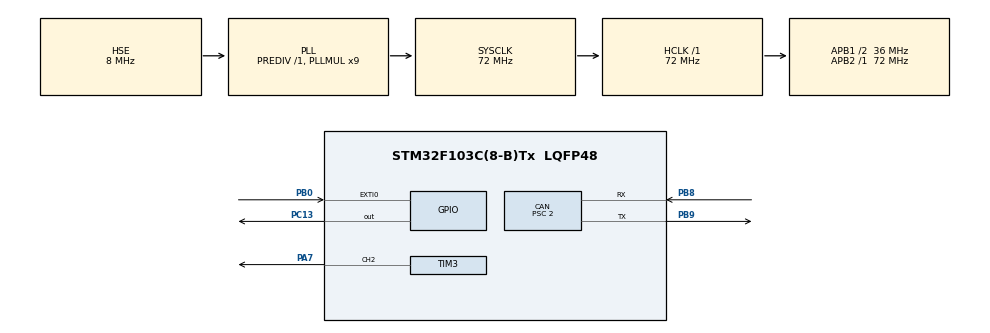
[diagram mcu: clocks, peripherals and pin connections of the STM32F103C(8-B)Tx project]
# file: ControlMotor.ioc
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CAN.BS1=CAN_BS1_12TQ
CAN.BS2=CAN_BS2_8TQ
CAN.CalculateTimeBit=1166.66
CAN.CalculateTimeQuantum=55.55555555555556
CAN.Prescaler=2
Mcu.Family=STM32F1
Mcu.Name=STM32F103C(8-B)Tx
Mcu.Package=LQFP48
NVIC.CAN1_RX1_IRQn=true\:0\:0\:false\:false\:true\:true\:true
NVIC.EXTI0_IRQn=true\:2\:0\:true\:false\:true\:true\:true
NVIC.PriorityGroup=NVIC_PRIORITYGROUP_4
NVIC.TIM2_IRQn=true\:1\:0\:true\:false\:true\:true\:true
PA13.Mode=Serial_Wire
PA13.Signal=SYS_JTMS-SWDIO
PA14.Mode=Serial_Wire
PA14.Signal=SYS_JTCK-SWCLK
PA7.GPIO_Speed=GPIO_SPEED_FREQ_HIGH
PA7.Signal=S_TIM3_CH2
PB0.GPIO_ModeDefaultEXTI=GPIO_MODE_IT_RISING
PB0.GPIO_PuPd=GPIO_PULLDOWN
PB0.Signal=GPXTI0
PB8.GPIO_PuPd=GPIO_PULLUP
PB8.Mode=Master
PB8.Signal=CAN_RX
PB9.Mode=Master
PB9.Signal=CAN_TX
PC13-TAMPER-RTC.GPIO_ModeDefaultOutputPP=GPIO_MODE_OUTPUT_PP
PC13-TAMPER-RTC.GPIO_PuPd=GPIO_PULLUP
PC13-TAMPER-RTC.GPIO_Speed=GPIO_SPEED_FREQ_HIGH
PC13-TAMPER-RTC.PinState=GPIO_PIN_SET
PC13-TAMPER-RTC.Signal=GPIO_Output
PD0-OSC_IN.Mode=HSE-External-Oscillator
PD0-OSC_IN.Signal=RCC_OSC_IN
PD1-OSC_OUT.Mode=HSE-External-Oscillator
PD1-OSC_OUT.Signal=RCC_OSC_OUT
ProjectManager.HeapSize=0x200
ProjectManager.StackSize=0x400
ProjectManager.TargetToolchain=STM32CubeIDE
RCC.AHBFreq_Value=72000000
RCC.APB1CLKDivider=RCC_HCLK_DIV2
RCC.APB1Freq_Value=36000000
RCC.APB1TimFreq_Value=72000000
RCC.APB2Freq_Value=72000000
RCC.APB2TimFreq_Value=72000000
RCC.HCLKFreq_Value=72000000
RCC.PLLMUL=RCC_PLL_MUL9
RCC.PLLSourceVirtual=RCC_PLLSOURCE_HSE
RCC.SYSCLKFreq_VALUE=72000000
RCC.SYSCLKSource=RCC_SYSCLKSOURCE_PLLCLK
RCC.USBFreq_Value=72000000
SH.S_TIM3_CH2.0=TIM3_CH2,PWM Generation2 CH2
TIM2.AutoReloadPreload=TIM_AUTORELOAD_PRELOAD_ENABLE
TIM2.Period=999
TIM2.Prescaler=72
TIM3.AutoReloadPreload=TIM_AUTORELOAD_PRELOAD_ENABLE
TIM3.Channel-PWM\ Generation2\ CH2=TIM_CHANNEL_2
TIM3.Period=999
TIM3.Prescaler=72
TIM4.AutoReloadPreload=TIM_AUTORELOAD_PRELOAD_ENABLE
TIM4.Period=65535
TIM4.Prescaler=720
VP_TIM2_VS_ClockSourceINT.Mode=Internal
VP_TIM3_VS_ClockSourceINT.Mode=Internal
VP_TIM4_VS_ClockSourceINT.Mode=Internal
board=custom

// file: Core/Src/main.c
/* USER CODE BEGIN Header */
/**
  ******************************************************************************
  * @file           : main.c
  * @brief          : Main program body
  ******************************************************************************
  * @attention
  *
  * <h2><center>&copy; Copyright (c) 2020 STMicroelectronics.
  * All rights reserved.</center></h2>
  *
  * This software component is licensed by ST under BSD 3-Clause license,
  * the "License"; You may not use this file except in compliance with the
  * License. You may obtain a copy of the License at:
  *                        opensource.org/licenses/BSD-3-Clause
  *
  ******************************************************************************
  */
/* USER CODE END Header */
#include "main.h"

CAN_HandleTypeDef hcan;

TIM_HandleTypeDef htim2;
TIM_HandleTypeDef htim3;
TIM_HandleTypeDef htim4;

void SystemClock_Config(void);
static void MX_GPIO_Init(void);
static void MX_TIM3_Init(void);
static void MX_TIM4_Init(void);
static void MX_CAN_Init(void);
static void MX_TIM2_Init(void);

/* USER CODE BEGIN 0 */
#define TCR_ID 0x1D
#define ID_MAIN 0x2C
#define MOTOR1_ID 0x3A
#define MOTOR2_ID 0x4B

CAN_FilterTypeDef hcanfilter;
uint16_t _FilterIdHigh=0xFFFF;
uint16_t _FilterIdLow=0x0000;
uint16_t _IdHigh=MOTOR2_ID;
uint16_t _IdLow=0x0000;
CAN_RxHeaderTypeDef RxMessage; //CAN Bus Receive Header
CAN_TxHeaderTypeDef TxMessage;
uint8_t TX_Message[8] = {0,0,0,0,0,0,0,0};
uint8_t RX_Message[8] = {0,0,0,0,0,0,0,0};
uint8_t EC_Message[8] = {0,0,0,0,0,0,0,0};

//========================
float setpoint = 0; //rpm
float Ki=0,Kp=0,Kd=0,Tsample=0.001;
float pre_I_Part=0,I_part=0,D_part=0,pre_Error=0,Error=0;
float Output=0,PID=0;

float Fre_motor=0;
float velocity_feedback=0;

void CANbus_Transmit(uint32_t StdID, uint8_t can_DLC,uint8_t* can_Data)
{
	uint32_t TransmitMailbox;
	TxMessage.StdId=StdID;
	TxMessage.ExtId=0;
	TxMessage.RTR=CAN_RTR_DATA;
	TxMessage.DLC=can_DLC;
	TxMessage.IDE=CAN_ID_STD;
	TxMessage.TransmitGlobalTime = DISABLE;
	HAL_CAN_AddTxMessage(&hcan, &TxMessage, can_Data, &TransmitMailbox);
	uint32_t k=0;
	while((HAL_CAN_IsTxMessagePending(&hcan, TransmitMailbox) != 1) && (k!=0xFFFF))
	{
		k++;

	}
}

void PID_Init(float _Kp,float _Ki,float _Kd,float _Tsample)
{

	pre_I_Part=0;
	I_part=0;
	D_part=0;
	pre_Error=0;
	Error=0;
	Output=0;
	PID=0;
	Kd=_Kd;
	Ki=_Ki;
	Kp=_Kp;
	velocity_feedback=0;
	Tsample=_Tsample;

}

void HAL_CAN_RxFifo1MsgPendingCallback(CAN_HandleTypeDef *hcan)
{
	HAL_CAN_GetRxMessage(hcan, CAN_RX_FIFO1, &RxMessage, RX_Message); //Receive CAN bus message to canRX buffer
	// toggle PC13 LED

	if (RxMessage.StdId == MOTOR2_ID)
	{
		if ((RX_Message[0]='S') && (RX_Message[0]='T'))
		{
			//CODE CMD START
			setpoint=RX_Message[2];
			if (setpoint >0)
			{
				//DCtrai
				HAL_TIM_Base_Start_IT(&htim2);
			}
			else
			{
				HAL_TIM_Base_Stop_IT(&htim2);
				PID_Init(0.2,0.005,0,0.001); //DCtrai

			}
			HAL_GPIO_TogglePin(GPIOC, GPIO_PIN_13);
			//CODE CMD END

		}
		else if ((RX_Message[0]='S') && (RX_Message[0]='O'))
		{
			  __HAL_TIM_SetCompare(&htim3,TIM_CHANNEL_2,0);
		}

		else
		{
			 __HAL_TIM_SetCompare(&htim3,TIM_CHANNEL_2,0);
		}

	}

}

void PID_Compute(float set_point,float feedback)
{
    Error = (float)(set_point-feedback);
    I_part = pre_I_Part + (float)Error*Tsample*1.0;
    D_part = (float)(1.0*(Error - pre_Error)/Tsample);
    PID = Kp*Error + Ki*I_part + Kd*D_part;
    pre_Error = Error;
    pre_I_Part = I_part;

    //Output=Output+(float)(1.0*PID/286*199);
    Output=Output+PID;
  //  Output=PID;
    if (Output > 999)
    {
    	Output = 999;
    }
    else if (Output <0)
    {
    	Output=0;
    }

    __HAL_TIM_SetCompare(&htim3,TIM_CHANNEL_2,(uint16_t)Output);

}
float GetOutPut(void)
{
	return Output;
}

//========================================================================

uint16_t tim4_counter=0;

void HAL_GPIO_EXTI_Callback(uint16_t GPIO_Pin)
{
	HAL_TIM_Base_Start(&htim4);  // Read velocity
	htim4.Instance->CNT=0;
	while(HAL_GPIO_ReadPin(GPIOB, GPIO_PIN_0) == GPIO_PIN_SET);
	while(HAL_GPIO_ReadPin(GPIOB, GPIO_PIN_0) == GPIO_PIN_RESET);
	tim4_counter=htim4.Instance->CNT;
	if (tim4_counter >0)
	{
		Fre_motor=(float)(100000.0/tim4_counter);  // xung/s
		velocity_feedback=(1.0*Fre_motor/374)*60; // rpm
	}
	HAL_TIM_Base_Stop(&htim4);

}
void HAL_TIM_PeriodElapsedCallback(TIM_HandleTypeDef *htim)
{
	if (htim->Instance == TIM2)
	{

		PID_Compute(setpoint,velocity_feedback);

	}
}

//=============================================================================
/* USER CODE END 0 */

int main(void)
{

  /* MCU Configuration--------------------------------------------------------*/

  /* Reset of all peripherals, Initializes the Flash interface and the Systick. */
  HAL_Init();

  /* Configure the system clock */
  SystemClock_Config();

  /* Initialize all configured peripherals */
  MX_GPIO_Init();
  MX_TIM3_Init();
  MX_TIM4_Init();
  MX_CAN_Init();
  MX_TIM2_Init();
  /* USER CODE BEGIN 2 */

  HAL_TIM_PWM_Start(&htim3, TIM_CHANNEL_2);
  //===========================
//   PID_Init(0.205,0.005,0,0.001); // DC phai
  PID_Init(0.2,0.005,0,0.001); //DCtrai
  //__HAL_TIM_SetCompare(&htim3,TIM_CHANNEL_2,999);

  //============================

  /* USER CODE END 2 */

  /* Infinite loop */
  while (1)
  {

  }
}

void SystemClock_Config(void)
{
  RCC_OscInitTypeDef RCC_OscInitStruct = {0};
  RCC_ClkInitTypeDef RCC_ClkInitStruct = {0};

  /** Initializes the RCC Oscillators according to the specified parameters
  * in the RCC_OscInitTypeDef structure.
  */
  RCC_OscInitStruct.OscillatorType = RCC_OSCILLATORTYPE_HSE;
  RCC_OscInitStruct.HSEState = RCC_HSE_ON;
  RCC_OscInitStruct.HSEPredivValue = RCC_HSE_PREDIV_DIV1;
  RCC_OscInitStruct.HSIState = RCC_HSI_ON;
  RCC_OscInitStruct.PLL.PLLState = RCC_PLL_ON;
  RCC_OscInitStruct.PLL.PLLSource = RCC_PLLSOURCE_HSE;
  RCC_OscInitStruct.PLL.PLLMUL = RCC_PLL_MUL9;
  if (HAL_RCC_OscConfig(&RCC_OscInitStruct) != HAL_OK)
  {
    Error_Handler();
  }
  /** Initializes the CPU, AHB and APB buses clocks
  */
  RCC_ClkInitStruct.ClockType = RCC_CLOCKTYPE_HCLK|RCC_CLOCKTYPE_SYSCLK
                              |RCC_CLOCKTYPE_PCLK1|RCC_CLOCKTYPE_PCLK2;
  RCC_ClkInitStruct.SYSCLKSource = RCC_SYSCLKSOURCE_PLLCLK;
  RCC_ClkInitStruct.AHBCLKDivider = RCC_SYSCLK_DIV1;
  RCC_ClkInitStruct.APB1CLKDivider = RCC_HCLK_DIV2;
  RCC_ClkInitStruct.APB2CLKDivider = RCC_HCLK_DIV1;

  if (HAL_RCC_ClockConfig(&RCC_ClkInitStruct, FLASH_LATENCY_2) != HAL_OK)
  {
    Error_Handler();
  }
}

static void MX_CAN_Init(void)
{

  hcan.Instance = CAN1;
  hcan.Init.Prescaler = 2;
  hcan.Init.Mode = CAN_MODE_NORMAL;
  hcan.Init.SyncJumpWidth = CAN_SJW_1TQ;
  hcan.Init.TimeSeg1 = CAN_BS1_12TQ;
  hcan.Init.TimeSeg2 = CAN_BS2_8TQ;
  hcan.Init.TimeTriggeredMode = DISABLE;
  hcan.Init.AutoBusOff = DISABLE;
  hcan.Init.AutoWakeUp = DISABLE;
  hcan.Init.AutoRetransmission = DISABLE;
  hcan.Init.ReceiveFifoLocked = DISABLE;
  hcan.Init.TransmitFifoPriority = DISABLE;
  if (HAL_CAN_Init(&hcan) != HAL_OK)
  {
    Error_Handler();
  }
  /* USER CODE BEGIN CAN_Init 2 */
  hcanfilter.FilterActivation=CAN_FILTER_ENABLE;
  hcanfilter.FilterMode=CAN_FILTERMODE_IDMASK;
  hcanfilter.FilterScale=CAN_FILTERSCALE_16BIT;
  hcanfilter.FilterMaskIdHigh=_FilterIdHigh << 5 ;
  hcanfilter.FilterMaskIdLow=_FilterIdLow ;

  hcanfilter.FilterBank=2;
  hcanfilter.FilterIdHigh=_IdHigh;
  hcanfilter.FilterIdLow=_IdLow;
  hcanfilter.FilterFIFOAssignment=CAN_FILTER_FIFO1;
 // hcanfilter.SlaveStartFilterBank=14;

  HAL_CAN_ConfigFilter(&hcan,&hcanfilter); //Initialize CAN Filter
  HAL_CAN_Start(&hcan); //Initialize CAN Bus
  HAL_CAN_ActivateNotification(&hcan,CAN_IT_RX_FIFO1_MSG_PENDING);// Initialize
  /* USER CODE END CAN_Init 2 */

}

static void MX_TIM2_Init(void)
{

  TIM_ClockConfigTypeDef sClockSourceConfig = {0};
  TIM_MasterConfigTypeDef sMasterConfig = {0};

  htim2.Instance = TIM2;
  htim2.Init.Prescaler = 72;
  htim2.Init.CounterMode = TIM_COUNTERMODE_UP;
  htim2.Init.Period = 999;
  htim2.Init.ClockDivision = TIM_CLOCKDIVISION_DIV1;
  htim2.Init.AutoReloadPreload = TIM_AUTORELOAD_PRELOAD_ENABLE;
  if (HAL_TIM_Base_Init(&htim2) != HAL_OK)
  {
    Error_Handler();
  }
  sClockSourceConfig.ClockSource = TIM_CLOCKSOURCE_INTERNAL;
  if (HAL_TIM_ConfigClockSource(&htim2, &sClockSourceConfig) != HAL_OK)
  {
    Error_Handler();
  }
  sMasterConfig.MasterOutputTrigger = TIM_TRGO_RESET;
  sMasterConfig.MasterSlaveMode = TIM_MASTERSLAVEMODE_DISABLE;
  if (HAL_TIMEx_MasterConfigSynchronization(&htim2, &sMasterConfig) != HAL_OK)
  {
    Error_Handler();
  }

}

static void MX_TIM3_Init(void)
{

  TIM_ClockConfigTypeDef sClockSourceConfig = {0};
  TIM_MasterConfigTypeDef sMasterConfig = {0};
  TIM_OC_InitTypeDef sConfigOC = {0};

  htim3.Instance = TIM3;
  htim3.Init.Prescaler = 72;
  htim3.Init.CounterMode = TIM_COUNTERMODE_UP;
  htim3.Init.Period = 999;
  htim3.Init.ClockDivision = TIM_CLOCKDIVISION_DIV1;
  htim3.Init.AutoReloadPreload = TIM_AUTORELOAD_PRELOAD_ENABLE;
  if (HAL_TIM_Base_Init(&htim3) != HAL_OK)
  {
    Error_Handler();
  }
  sClockSourceConfig.ClockSource = TIM_CLOCKSOURCE_INTERNAL;
  if (HAL_TIM_ConfigClockSource(&htim3, &sClockSourceConfig) != HAL_OK)
  {
    Error_Handler();
  }
  if (HAL_TIM_PWM_Init(&htim3) != HAL_OK)
  {
    Error_Handler();
  }
  sMasterConfig.MasterOutputTrigger = TIM_TRGO_RESET;
  sMasterConfig.MasterSlaveMode = TIM_MASTERSLAVEMODE_DISABLE;
  if (HAL_TIMEx_MasterConfigSynchronization(&htim3, &sMasterConfig) != HAL_OK)
  {
    Error_Handler();
  }
  sConfigOC.OCMode = TIM_OCMODE_PWM1;
  sConfigOC.Pulse = 0;
  sConfigOC.OCPolarity = TIM_OCPOLARITY_HIGH;
  sConfigOC.OCFastMode = TIM_OCFAST_DISABLE;
  if (HAL_TIM_PWM_ConfigChannel(&htim3, &sConfigOC, TIM_CHANNEL_2) != HAL_OK)
  {
    Error_Handler();
  }
  HAL_TIM_MspPostInit(&htim3);

}

static void MX_TIM4_Init(void)
{

  TIM_ClockConfigTypeDef sClockSourceConfig = {0};
  TIM_MasterConfigTypeDef sMasterConfig = {0};

  htim4.Instance = TIM4;
  htim4.Init.Prescaler = 720;
  htim4.Init.CounterMode = TIM_COUNTERMODE_UP;
  htim4.Init.Period = 65535;
  htim4.Init.ClockDivision = TIM_CLOCKDIVISION_DIV1;
  htim4.Init.AutoReloadPreload = TIM_AUTORELOAD_PRELOAD_ENABLE;
  if (HAL_TIM_Base_Init(&htim4) != HAL_OK)
  {
    Error_Handler();
  }
  sClockSourceConfig.ClockSource = TIM_CLOCKSOURCE_INTERNAL;
  if (HAL_TIM_ConfigClockSource(&htim4, &sClockSourceConfig) != HAL_OK)
  {
    Error_Handler();
  }
  sMasterConfig.MasterOutputTrigger = TIM_TRGO_RESET;
  sMasterConfig.MasterSlaveMode = TIM_MASTERSLAVEMODE_DISABLE;
  if (HAL_TIMEx_MasterConfigSynchronization(&htim4, &sMasterConfig) != HAL_OK)
  {
    Error_Handler();
  }

}

static void MX_GPIO_Init(void)
{
  GPIO_InitTypeDef GPIO_InitStruct = {0};

  /* GPIO Ports Clock Enable */
  __HAL_RCC_GPIOC_CLK_ENABLE();
  __HAL_RCC_GPIOD_CLK_ENABLE();
  __HAL_RCC_GPIOA_CLK_ENABLE();
  __HAL_RCC_GPIOB_CLK_ENABLE();

  /*Configure GPIO pin Output Level */
  HAL_GPIO_WritePin(GPIOC, GPIO_PIN_13, GPIO_PIN_SET);

  /*Configure GPIO pin : PC13 */
  GPIO_InitStruct.Pin = GPIO_PIN_13;
  GPIO_InitStruct.Mode = GPIO_MODE_OUTPUT_PP;
  GPIO_InitStruct.Pull = GPIO_PULLUP;
  GPIO_InitStruct.Speed = GPIO_SPEED_FREQ_HIGH;
  HAL_GPIO_Init(GPIOC, &GPIO_InitStruct);

  /*Configure GPIO pin : PB0 */
  GPIO_InitStruct.Pin = GPIO_PIN_0;
  GPIO_InitStruct.Mode = GPIO_MODE_IT_RISING;
  GPIO_InitStruct.Pull = GPIO_PULLDOWN;
  HAL_GPIO_Init(GPIOB, &GPIO_InitStruct);

  /* EXTI interrupt init*/
  HAL_NVIC_SetPriority(EXTI0_IRQn, 2, 0);
  HAL_NVIC_EnableIRQ(EXTI0_IRQn);

}

void Error_Handler(void)
{
}

/************************ (C) COPYRIGHT STMicroelectronics *****END OF FILE****/
